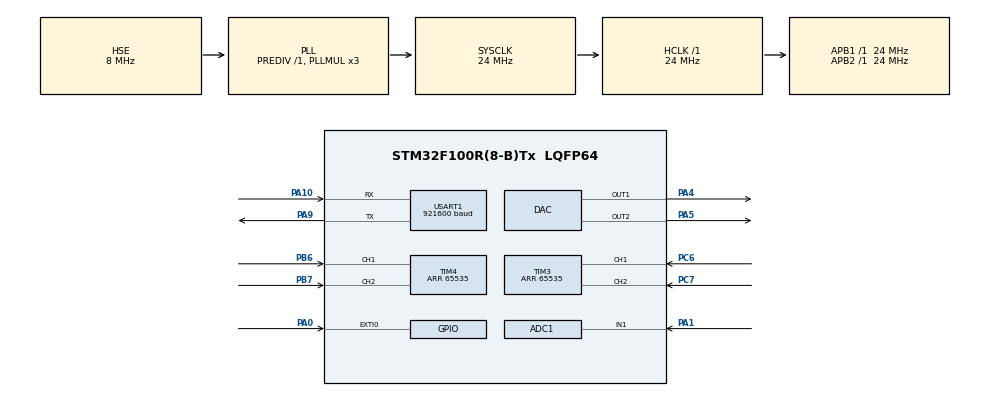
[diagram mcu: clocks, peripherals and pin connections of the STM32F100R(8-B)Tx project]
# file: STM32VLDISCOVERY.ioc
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ADC1.Channel-12\#ChannelRegularConversion=ADC_CHANNEL_1
ADC1.ContinuousConvMode=ENABLE
ADC1.DataAlign=ADC_DATAALIGN_RIGHT
ADC1.DiscontinuousConvMode=DISABLE
ADC1.EnableAnalogWatchDog=false
ADC1.EnableRegularConversion=ENABLE
ADC1.ExternalTrigConv=ADC_SOFTWARE_START
ADC1.InjNumberOfConversion=0
ADC1.NbrOfConversion=1
ADC1.NbrOfConversionFlag=1
ADC1.Rank-12\#ChannelRegularConversion=1
ADC1.SamplingTime-12\#ChannelRegularConversion=ADC_SAMPLETIME_239CYCLES_5
ADC1.ScanConvMode=ADC_SCAN_DISABLE
ADC1.master=1
Dma.ADC1.0.Direction=DMA_PERIPH_TO_MEMORY
Dma.ADC1.0.Instance=DMA1_Channel1
Dma.ADC1.0.MemDataAlignment=DMA_MDATAALIGN_HALFWORD
Dma.ADC1.0.MemInc=DMA_MINC_ENABLE
Dma.ADC1.0.Mode=DMA_CIRCULAR
Dma.ADC1.0.PeriphDataAlignment=DMA_PDATAALIGN_HALFWORD
Dma.ADC1.0.PeriphInc=DMA_PINC_DISABLE
Dma.ADC1.0.Priority=DMA_PRIORITY_LOW
Dma.Request0=ADC1
Mcu.Family=STM32F1
Mcu.Name=STM32F100R(8-B)Tx
Mcu.Package=LQFP64
NVIC.DMA1_Channel1_IRQn=true\:0\:0\:false\:false\:true\:false
NVIC.EXTI0_IRQn=true\:1\:0\:true\:false\:true\:true
NVIC.PriorityGroup=NVIC_PRIORITYGROUP_4
NVIC.TIM2_IRQn=true\:0\:0\:false\:false\:true\:true
NVIC.TIM6_DAC_IRQn=true\:0\:0\:false\:false\:true\:true
PA0-WKUP.Signal=GPXTI0
PA1.Signal=ADCx_IN1
PA10.Mode=Asynchronous
PA10.Signal=USART1_RX
PA13.Mode=Serial_Wire
PA13.Signal=SYS_JTMS-SWDIO
PA14.Mode=Serial_Wire
PA14.Signal=SYS_JTCK-SWCLK
PA4.Signal=COMP_DAC1_group
PA5.Signal=COMP_DAC2_group
PA9.Mode=Asynchronous
PA9.Signal=USART1_TX
PB6.Signal=S_TIM4_CH1
PB7.Signal=S_TIM4_CH2
PC14-OSC32_IN.Mode=LSE-External-Oscillator
PC14-OSC32_IN.Signal=RCC_OSC32_IN
PC15-OSC32_OUT.Mode=LSE-External-Oscillator
PC15-OSC32_OUT.Signal=RCC_OSC32_OUT
PC6.Signal=S_TIM3_CH1
PC7.Signal=S_TIM3_CH2
PD0-OSC_IN.Mode=HSE-External-Oscillator
PD0-OSC_IN.Signal=RCC_OSC_IN
PD1-OSC_OUT.Mode=HSE-External-Oscillator
PD1-OSC_OUT.Signal=RCC_OSC_OUT
ProjectManager.HeapSize=0x200
ProjectManager.StackSize=0x400
ProjectManager.TargetToolchain=SW4STM32
RCC.AHBFreq_Value=24000000
RCC.APB1Freq_Value=24000000
RCC.APB1TimFreq_Value=24000000
RCC.APB2Freq_Value=24000000
RCC.APB2TimFreq_Value=24000000
RCC.HCLKFreq_Value=24000000
RCC.PLLMUL=RCC_PLL_MUL3
RCC.PLLSource=RCC_PLLSOURCE_HSE
RCC.SYSCLKFreq_VALUE=24000000
RCC.SYSCLKSource=RCC_SYSCLKSOURCE_PLLCLK
SH.ADCx_IN1.0=ADC1_IN1,IN1
SH.COMP_DAC1_group.0=DAC_OUT1,DAC_OUT1
SH.COMP_DAC2_group.0=DAC_OUT2,DAC_OUT2
SH.S_TIM3_CH1.0=TIM3_CH1,Encoder_Interface
SH.S_TIM3_CH2.0=TIM3_CH2,Encoder_Interface
SH.S_TIM4_CH1.0=TIM4_CH1,Encoder_Interface
SH.S_TIM4_CH2.0=TIM4_CH2,Encoder_Interface
TIM2.Period=4999
TIM2.Prescaler=23
TIM3.EncoderMode=TIM_ENCODERMODE_TI12
TIM3.IC1Filter=15
TIM3.IC2Filter=15
TIM3.Period=65535
TIM4.EncoderMode=TIM_ENCODERMODE_TI12
TIM4.IC1Filter=12
TIM4.IC2Filter=12
TIM4.Period=65535
TIM6.Period=1999
TIM6.Prescaler=23
USART1.BaudRate=921600
USART1.VirtualMode=VM_ASYNC
VP_TIM2_VS_ClockSourceINT.Mode=Internal
VP_TIM6_VS_ClockSourceINT.Mode=Enable_Timer
board=STM32VLDISCOVERY

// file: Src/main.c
/**
  ******************************************************************************
  * @file           : main.c
  * @brief          : Main program body
  ******************************************************************************
  ** This notice applies to any and all portions of this file
  * that are not between comment pairs USER CODE BEGIN and
  * USER CODE END. Other portions of this file, whether
  * inserted by the user or by software development tools
  * are owned by their respective copyright owners.
  *
  * COPYRIGHT(c) 2018 STMicroelectronics
  *
  * Redistribution and use in source and binary forms, with or without modification,
  * are permitted provided that the following conditions are met:
  *   1. Redistributions of source code must retain the above copyright notice,
  *      this list of conditions and the following disclaimer.
  *   2. Redistributions in binary form must reproduce the above copyright notice,
  *      this list of conditions and the following disclaimer in the documentation
  *      and/or other materials provided with the distribution.
  *   3. Neither the name of STMicroelectronics nor the names of its contributors
  *      may be used to endorse or promote products derived from this software
  *      without specific prior written permission.
  *
  * THIS SOFTWARE IS PROVIDED BY THE COPYRIGHT HOLDERS AND CONTRIBUTORS "AS IS"
  * AND ANY EXPRESS OR IMPLIED WARRANTIES, INCLUDING, BUT NOT LIMITED TO, THE
  * IMPLIED WARRANTIES OF MERCHANTABILITY AND FITNESS FOR A PARTICULAR PURPOSE ARE
  * DISCLAIMED. IN NO EVENT SHALL THE COPYRIGHT HOLDER OR CONTRIBUTORS BE LIABLE
  * FOR ANY DIRECT, INDIRECT, INCIDENTAL, SPECIAL, EXEMPLARY, OR CONSEQUENTIAL
  * DAMAGES (INCLUDING, BUT NOT LIMITED TO, PROCUREMENT OF SUBSTITUTE GOODS OR
  * SERVICES; LOSS OF USE, DATA, OR PROFITS; OR BUSINESS INTERRUPTION) HOWEVER
  * CAUSED AND ON ANY THEORY OF LIABILITY, WHETHER IN CONTRACT, STRICT LIABILITY,
  * OR TORT (INCLUDING NEGLIGENCE OR OTHERWISE) ARISING IN ANY WAY OUT OF THE USE
  * OF THIS SOFTWARE, EVEN IF ADVISED OF THE POSSIBILITY OF SUCH DAMAGE.
  *
  ******************************************************************************
  */
#include "main.h"
#include "stm32f1xx_hal.h"

/* USER CODE BEGIN Includes */

#include <stdlib.h>
#include <string.h>
#include <math.h>
#include "dwt_stm32_delay.h"

/* USER CODE END Includes */

ADC_HandleTypeDef hadc1;
DMA_HandleTypeDef hdma_adc1;

DAC_HandleTypeDef hdac;

TIM_HandleTypeDef htim2;
TIM_HandleTypeDef htim3;
TIM_HandleTypeDef htim4;
TIM_HandleTypeDef htim6;

UART_HandleTypeDef huart1;

/* USER CODE BEGIN PV */
/* Private variables ---------------------------------------------------------*/

volatile uint8_t system_task=0;

volatile int32_t capture4=0, capture4_prev=0, encoder4=0;
volatile int32_t capture3=0, capture3_prev=0, encoder3=0;
volatile uint32_t cnt_micros=0, cnt_micros_prev=0, cnt_overflow=0;

#define ADC_BUF_SIZE 256
volatile uint16_t ADCReadings[ADC_BUF_SIZE];
volatile int32_t adc_zero_amps = 2048;
volatile int32_t adc_accum = 0;

volatile uint32_t useconds=0, useconds_prev=0, time_of_start=0;
volatile int32_t cart_position=0, cart_position_prev=0;
volatile float targetX=0, dtargetX=0.0004;

const uint32_t MHz = 24L;
const uint32_t overflow_micros = 178956970L;

// UNCOMMENT ONE OF THESE:
// parameter-based estimation
#define PEBO
// simplified GESO for PLvCC
//#define KKL

#if defined PEBO
volatile float hatX=0, hatQ=0, hatLPX=0, hatLPQ=0;
#elif defined KKL
const float gainX = -7.;
const float gainQ = -2.;
volatile float ZX=0, ZQ=0;
#endif

/* USER CODE END PV */

void SystemClock_Config(void);
static void MX_GPIO_Init(void);
static void MX_DMA_Init(void);
static void MX_TIM4_Init(void);
static void MX_TIM3_Init(void);
static void MX_USART1_UART_Init(void);
static void MX_DAC_Init(void);
static void MX_ADC1_Init(void);
static void MX_TIM2_Init(void);
static void MX_TIM6_Init(void);

/* USER CODE BEGIN PFP */
/* Private function prototypes -----------------------------------------------*/

/* USER CODE END PFP */

/* USER CODE BEGIN 0 */

uint32_t dwt_micros() {
  cnt_micros_prev = cnt_micros;
  cnt_micros = DWT->CYCCNT / MHz;
  if (cnt_micros_prev > cnt_micros)
    cnt_overflow++;
  return cnt_overflow * overflow_micros + cnt_micros;
}

int32_t get_cart_position() {
  // handle eventual overflows in the encoder reading
  capture4 = TIM4->CNT;
  encoder4 += capture4 - capture4_prev;
  if (labs(capture4 - capture4_prev) > 32767) {
    encoder4 += (capture4 < capture4_prev ? 65535 : -65535);
  }
  capture4_prev = capture4;
  return encoder4 * 18L; // microns, #ticks*(36 teeth * 0.002m pitch)/(1000 ticks/rev * 4x) gives meters, multiplying it by 10^6 we get microns
}

int32_t get_pendulum_angle() {
  // handle eventual overflows in the encoder reading
  capture3 = TIM3->CNT;
  encoder3 += capture3 - capture3_prev;
  if (labs(capture3 - capture3_prev) > 32767) {
    encoder3 += (capture3 < capture3_prev ? 65535 : -65535);
  }
  capture3_prev = capture3;
  return (encoder3 - 4000) * 45L; // millidegrees, #ticks * 360 / (2000 ticks/rev * 4x) gives degrees
}

void HAL_TIM_PeriodElapsedCallback(TIM_HandleTypeDef *htim) {
  if (htim->Instance == TIM6) {
    adc_accum = 0;
    for (uint16_t i = 0; i < ADC_BUF_SIZE; i++) {
      adc_accum += ADCReadings[i];
    }
    adc_accum /= ADC_BUF_SIZE;

    if (0 == system_task) {
      adc_zero_amps = adc_accum;
    }
  }
}

void set_current(float current_ref) {
  int32_t current = current_ref * 4095 / 3.;
  if (current > 0) {
    HAL_DAC_SetValue(&hdac, DAC_CHANNEL_1, DAC_ALIGN_12B_R, current);
    HAL_DAC_SetValue(&hdac, DAC_CHANNEL_2, DAC_ALIGN_12B_R, 0);
  } else {
    HAL_DAC_SetValue(&hdac, DAC_CHANNEL_1, DAC_ALIGN_12B_R, 0);
    HAL_DAC_SetValue(&hdac, DAC_CHANNEL_2, DAC_ALIGN_12B_R, -current);
  }
}

float get_current() {
  return (adc_accum - adc_zero_amps) / 4095.0 * 20.0;
}

// frequencies are given in mHz
void chirp_current_open_loop(float amplitude, float start_freq, float end_freq, uint32_t duration_ms) {
  char buff[1024] = "time(s),reference current(A),current(A),cart position(m),pendulum angle(rad)\r\n";
  HAL_UART_Transmit(&huart1, (uint8_t *) buff, strlen(buff), 3);
  uint32_t time_of_start, useconds;
  useconds = time_of_start = dwt_micros();

  while (useconds < time_of_start + duration_ms * 1000L) {
    useconds = dwt_micros();
    float t = (useconds - time_of_start) * 0.000001;
    float phi = (start_freq + (end_freq - start_freq) * (t*1000.) / (float) duration_ms) * t;
    float current_ref = sin(2. * M_PI * phi) * amplitude;
    set_current(current_ref);

    float current_measured = get_current();
    float mesQ = get_pendulum_angle() * 3.14159 / 180000.;  // radians
    float mesX = get_cart_position() / 1000000.;          // meters

    sprintf(buff, "%3.5f, %1.3f, %1.3f, %3.4f, %3.4f\r\n", (useconds - time_of_start) * 1e-6, current_ref, current_measured, mesX, mesQ);
    HAL_UART_Transmit(&huart1, (uint8_t *) buff, strlen(buff), 3);
  }
  set_current(0);
}

void stabilize(uint32_t duration_ms) {
}

/* USER CODE END 0 */

int main(void)
{

  /* MCU Configuration----------------------------------------------------------*/

  /* Reset of all peripherals, Initializes the Flash interface and the Systick. */
  HAL_Init();

  /* USER CODE BEGIN Init */
  if (DWT_Delay_Init())
    while (1) {
      __ASM volatile ("NOP");
    }

  /* USER CODE END Init */

  /* Configure the system clock */
  SystemClock_Config();

  /* Initialize all configured peripherals */
  MX_GPIO_Init();
  MX_DMA_Init();
  MX_TIM4_Init();
  MX_TIM3_Init();
  MX_USART1_UART_Init();
  MX_DAC_Init();
  MX_ADC1_Init();
  MX_TIM2_Init();
  MX_TIM6_Init();
  /* USER CODE BEGIN 2 */

  HAL_TIM_Base_Start_IT(&htim6);
  HAL_TIM_Encoder_Start(&htim3, TIM_CHANNEL_ALL);
  HAL_TIM_Encoder_Start(&htim4, TIM_CHANNEL_ALL);

  __HAL_DAC_ENABLE(&hdac, DAC_CHANNEL_1);
  __HAL_DAC_ENABLE(&hdac, DAC_CHANNEL_2);
  HAL_DAC_SetValue(&hdac, DAC_CHANNEL_1, DAC_ALIGN_12B_R, 0);
  HAL_DAC_SetValue(&hdac, DAC_CHANNEL_2, DAC_ALIGN_12B_R, 0);

  HAL_ADCEx_Calibration_Start(&hadc1);
  HAL_ADC_Start_DMA(&hadc1, (uint32_t*) ADCReadings, ADC_BUF_SIZE);

  /* USER CODE END 2 */

  /* Infinite loop */
  /* USER CODE BEGIN WHILE */

  while (0) {
      char buff2[255] = "NOP\r\n";
      HAL_UART_Transmit(&huart1, (uint8_t *) buff2, strlen(buff2), 3);
    __ASM volatile ("NOP");
  }
  while (1) {
    if (system_task != 2) {
      char buff2[255];
      sprintf(buff2, "working ok, timestamp: %lu\r\n", dwt_micros());
      HAL_UART_Transmit(&huart1, (uint8_t *) buff2, strlen(buff2), 3);
    }
    /*
    if (system_task==1) {
      HAL_Delay(2000);
//      chirp_current_open_loop(2.5, 2., 9., 5000);
      chirp_current_open_loop(1.5, 1., 5., 5000);
      break;
      system_task = 0;
    }
    continue;
    */

    cart_position_prev = cart_position;
    cart_position = get_cart_position();
    int32_t pendulum_angle = get_pendulum_angle();
    float current_measured = get_current();

    while (pendulum_angle > 180000)  pendulum_angle -= 360000; // mod 2pi
    while (pendulum_angle < -180000) pendulum_angle += 360000;

    useconds_prev = useconds;
    useconds = dwt_micros();

    float mesQ = pendulum_angle * 3.14159 / 180000.;  // radians
    float mesX = cart_position / 1000000.;          // meters

  /* USER CODE END WHILE */

  /* USER CODE BEGIN 3 */
    if (1 == system_task) {
#if defined PEBO
      hatQ = mesQ;
      hatX = mesX;
#elif defined KKL
      ZQ = mesQ * gainQ;
      ZX = mesX * gainX;
#endif
      if (labs(pendulum_angle) < 5000L) {
        system_task = 2;
        time_of_start = useconds;
        char buff2[255] = "#time, current, target_x, x, q\r\n";
        HAL_UART_Transmit(&huart1, (uint8_t *) buff2, strlen(buff2), 3);
      }
    }

    if (2 == system_task) {
      const float Ki = 9.268;
      const float fricpos = 3.986 * .8;
      const float fricneg = -2.875 * .8;

      float u = current_measured * Ki;
      if (cart_position != cart_position_prev) {
        if (cart_position > cart_position_prev)
          u -= fricpos;
        else
          u -= fricneg;
      } else {
        if (u > 0) {
          if (u > fricpos)
            u -= fricpos;
          else
            u = 0;
        } else {
          if (u < fricneg)
            u -= fricneg;
          else
            u = 0;
        }
      }

      float dt = (useconds - useconds_prev) / 1000000.; // seconds

      float cosQ = cos(mesQ);
      float sinQ = sin(mesQ);

#if defined PEBO
      float A = 1./sqrtf(731.775 - 152.361*cosQ*cosQ);
      float hatDQ = (123.018*hatLPQ) * A;
      float hatDX = 0.933*hatLPX - (11.512*hatLPQ*cosQ) * A;
      float diffX = hatDX + 50*(mesX - hatX);
      float diffQ = 80*(mesQ - hatQ) + hatDQ;
      float diffLPX = 373.066*mesX - 373.066*hatX + .933*u + (4604.916*cosQ*(hatQ - mesQ)) * A;
      float diffLPQ = (18452.7315*(mesQ - hatQ) + 129.832*sinQ - 11.512*u*cosQ) * A;

      hatX += dt*diffX;
      hatQ += dt*diffQ;
      hatLPX += dt*diffLPX;
      hatLPQ += dt*diffLPQ;
#elif defined KKL
      float A = 1. / sqrtf(7.3178 - 1.5236 * cosQ * cosQ);
      float eX = ZX - gainX * mesX;
      float eQ = ZQ - gainQ * mesQ;

      float hatDQ = 12.3018 * eQ * A;
      float hatDX = 0.9327 * eX - 1.1512 * eQ * cosQ * A;

      float diffZQ = (12.9832 * sinQ - 1.1512 * u * cosQ) * A + gainQ * hatDQ;
      float diffZX = 0.9327 * u + gainX * hatDX;

      ZX += dt * diffZX;
      ZQ += dt * diffZQ;
#endif

      const float K[] = { 21.813858, 23.789165, 106.449942, 20.776078 };
      if (targetX > .2 || targetX < -.2)
        dtargetX = -dtargetX;
      targetX += dtargetX;

      int32_t f = K[0] * (mesX - targetX) + K[1] * (hatDX - dtargetX / 0.005) + K[2] * mesQ + K[3] * hatDQ; // Newtons

      float antifriction = 0;
      if (cart_position != cart_position_prev) {
        if (cart_position > cart_position_prev)
          antifriction = fricpos;
        else
          antifriction = fricneg;
      } else {
        if (fabs(f) > 0.01) {
          if (f > 0)
            antifriction = fricpos;
          else
            antifriction = fricneg;
        } else
          f = 0;
      }
      float current_ref = (f + antifriction) / Ki;
      if (current_ref >  3.) current_ref = 3.;
      if (current_ref < -3.) current_ref = -3.;

      set_current(current_ref);

      if (labs(cart_position) > 350000L || labs(pendulum_angle) > 30000L) {
        system_task = 9;
        set_current(0);
      }

      char buff[255] = { 0 };
      sprintf(buff, "%3.5f, %1.3f, %3.4f, %3.4f, %3.4f\r\n", (useconds - time_of_start) * 1e-6, current_ref, targetX, mesX, mesQ);
      HAL_UART_Transmit(&huart1, (uint8_t *) buff, strlen(buff), 3);
    }
    while (dwt_micros() - useconds < 4900);
  }
  /* USER CODE END 3 */

}

void SystemClock_Config(void)
{

  RCC_OscInitTypeDef RCC_OscInitStruct;
  RCC_ClkInitTypeDef RCC_ClkInitStruct;
  RCC_PeriphCLKInitTypeDef PeriphClkInit;

    /**Initializes the CPU, AHB and APB busses clocks
    */
  RCC_OscInitStruct.OscillatorType = RCC_OSCILLATORTYPE_HSE;
  RCC_OscInitStruct.HSEState = RCC_HSE_ON;
  RCC_OscInitStruct.HSEPredivValue = RCC_HSE_PREDIV_DIV1;
  RCC_OscInitStruct.PLL.PLLState = RCC_PLL_ON;
  RCC_OscInitStruct.PLL.PLLSource = RCC_PLLSOURCE_HSE;
  RCC_OscInitStruct.PLL.PLLMUL = RCC_PLL_MUL3;
  if (HAL_RCC_OscConfig(&RCC_OscInitStruct) != HAL_OK)
  {
    _Error_Handler(__FILE__, __LINE__);
  }

    /**Initializes the CPU, AHB and APB busses clocks
    */
  RCC_ClkInitStruct.ClockType = RCC_CLOCKTYPE_HCLK|RCC_CLOCKTYPE_SYSCLK
                              |RCC_CLOCKTYPE_PCLK1|RCC_CLOCKTYPE_PCLK2;
  RCC_ClkInitStruct.SYSCLKSource = RCC_SYSCLKSOURCE_PLLCLK;
  RCC_ClkInitStruct.AHBCLKDivider = RCC_SYSCLK_DIV1;
  RCC_ClkInitStruct.APB1CLKDivider = RCC_HCLK_DIV1;
  RCC_ClkInitStruct.APB2CLKDivider = RCC_HCLK_DIV1;

  if (HAL_RCC_ClockConfig(&RCC_ClkInitStruct, FLASH_LATENCY_0) != HAL_OK)
  {
    _Error_Handler(__FILE__, __LINE__);
  }

  PeriphClkInit.PeriphClockSelection = RCC_PERIPHCLK_ADC;
  PeriphClkInit.AdcClockSelection = RCC_ADCPCLK2_DIV2;
  if (HAL_RCCEx_PeriphCLKConfig(&PeriphClkInit) != HAL_OK)
  {
    _Error_Handler(__FILE__, __LINE__);
  }

    /**Configure the Systick interrupt time
    */
  HAL_SYSTICK_Config(HAL_RCC_GetHCLKFreq()/1000);

    /**Configure the Systick
    */
  HAL_SYSTICK_CLKSourceConfig(SYSTICK_CLKSOURCE_HCLK);

  /* SysTick_IRQn interrupt configuration */
  HAL_NVIC_SetPriority(SysTick_IRQn, 0, 0);
}

/* ADC1 init function */
static void MX_ADC1_Init(void)
{

  ADC_ChannelConfTypeDef sConfig;

    /**Common config
    */
  hadc1.Instance = ADC1;
  hadc1.Init.ScanConvMode = ADC_SCAN_DISABLE;
  hadc1.Init.ContinuousConvMode = ENABLE;
  hadc1.Init.DiscontinuousConvMode = DISABLE;
  hadc1.Init.ExternalTrigConv = ADC_SOFTWARE_START;
  hadc1.Init.DataAlign = ADC_DATAALIGN_RIGHT;
  hadc1.Init.NbrOfConversion = 1;
  if (HAL_ADC_Init(&hadc1) != HAL_OK)
  {
    _Error_Handler(__FILE__, __LINE__);
  }

    /**Configure Regular Channel
    */
  sConfig.Channel = ADC_CHANNEL_1;
  sConfig.Rank = ADC_REGULAR_RANK_1;
  sConfig.SamplingTime = ADC_SAMPLETIME_239CYCLES_5;
  if (HAL_ADC_ConfigChannel(&hadc1, &sConfig) != HAL_OK)
  {
    _Error_Handler(__FILE__, __LINE__);
  }

}

/* DAC init function */
static void MX_DAC_Init(void)
{

  DAC_ChannelConfTypeDef sConfig;

    /**DAC Initialization
    */
  hdac.Instance = DAC;
  if (HAL_DAC_Init(&hdac) != HAL_OK)
  {
    _Error_Handler(__FILE__, __LINE__);
  }

    /**DAC channel OUT1 config
    */
  sConfig.DAC_Trigger = DAC_TRIGGER_NONE;
  sConfig.DAC_OutputBuffer = DAC_OUTPUTBUFFER_ENABLE;
  if (HAL_DAC_ConfigChannel(&hdac, &sConfig, DAC_CHANNEL_1) != HAL_OK)
  {
    _Error_Handler(__FILE__, __LINE__);
  }

    /**DAC channel OUT2 config
    */
  if (HAL_DAC_ConfigChannel(&hdac, &sConfig, DAC_CHANNEL_2) != HAL_OK)
  {
    _Error_Handler(__FILE__, __LINE__);
  }

}

/* TIM2 init function */
static void MX_TIM2_Init(void)
{

  TIM_ClockConfigTypeDef sClockSourceConfig;
  TIM_MasterConfigTypeDef sMasterConfig;

  htim2.Instance = TIM2;
  htim2.Init.Prescaler = 23;
  htim2.Init.CounterMode = TIM_COUNTERMODE_UP;
  htim2.Init.Period = 4999;
  htim2.Init.ClockDivision = TIM_CLOCKDIVISION_DIV1;
  htim2.Init.AutoReloadPreload = TIM_AUTORELOAD_PRELOAD_DISABLE;
  if (HAL_TIM_Base_Init(&htim2) != HAL_OK)
  {
    _Error_Handler(__FILE__, __LINE__);
  }

  sClockSourceConfig.ClockSource = TIM_CLOCKSOURCE_INTERNAL;
  if (HAL_TIM_ConfigClockSource(&htim2, &sClockSourceConfig) != HAL_OK)
  {
    _Error_Handler(__FILE__, __LINE__);
  }

  sMasterConfig.MasterOutputTrigger = TIM_TRGO_RESET;
  sMasterConfig.MasterSlaveMode = TIM_MASTERSLAVEMODE_DISABLE;
  if (HAL_TIMEx_MasterConfigSynchronization(&htim2, &sMasterConfig) != HAL_OK)
  {
    _Error_Handler(__FILE__, __LINE__);
  }

}

/* TIM3 init function */
static void MX_TIM3_Init(void)
{

  TIM_Encoder_InitTypeDef sConfig;
  TIM_MasterConfigTypeDef sMasterConfig;

  htim3.Instance = TIM3;
  htim3.Init.Prescaler = 0;
  htim3.Init.CounterMode = TIM_COUNTERMODE_UP;
  htim3.Init.Period = 65535;
  htim3.Init.ClockDivision = TIM_CLOCKDIVISION_DIV1;
  htim3.Init.AutoReloadPreload = TIM_AUTORELOAD_PRELOAD_DISABLE;
  sConfig.EncoderMode = TIM_ENCODERMODE_TI12;
  sConfig.IC1Polarity = TIM_ICPOLARITY_RISING;
  sConfig.IC1Selection = TIM_ICSELECTION_DIRECTTI;
  sConfig.IC1Prescaler = TIM_ICPSC_DIV1;
  sConfig.IC1Filter = 15;
  sConfig.IC2Polarity = TIM_ICPOLARITY_RISING;
  sConfig.IC2Selection = TIM_ICSELECTION_DIRECTTI;
  sConfig.IC2Prescaler = TIM_ICPSC_DIV1;
  sConfig.IC2Filter = 15;
  if (HAL_TIM_Encoder_Init(&htim3, &sConfig) != HAL_OK)
  {
    _Error_Handler(__FILE__, __LINE__);
  }

  sMasterConfig.MasterOutputTrigger = TIM_TRGO_RESET;
  sMasterConfig.MasterSlaveMode = TIM_MASTERSLAVEMODE_DISABLE;
  if (HAL_TIMEx_MasterConfigSynchronization(&htim3, &sMasterConfig) != HAL_OK)
  {
    _Error_Handler(__FILE__, __LINE__);
  }

}

/* TIM4 init function */
static void MX_TIM4_Init(void)
{

  TIM_Encoder_InitTypeDef sConfig;
  TIM_MasterConfigTypeDef sMasterConfig;

  htim4.Instance = TIM4;
  htim4.Init.Prescaler = 0;
  htim4.Init.CounterMode = TIM_COUNTERMODE_UP;
  htim4.Init.Period = 65535;
  htim4.Init.ClockDivision = TIM_CLOCKDIVISION_DIV1;
  htim4.Init.AutoReloadPreload = TIM_AUTORELOAD_PRELOAD_DISABLE;
  sConfig.EncoderMode = TIM_ENCODERMODE_TI12;
  sConfig.IC1Polarity = TIM_ICPOLARITY_RISING;
  sConfig.IC1Selection = TIM_ICSELECTION_DIRECTTI;
  sConfig.IC1Prescaler = TIM_ICPSC_DIV1;
  sConfig.IC1Filter = 12;
  sConfig.IC2Polarity = TIM_ICPOLARITY_RISING;
  sConfig.IC2Selection = TIM_ICSELECTION_DIRECTTI;
  sConfig.IC2Prescaler = TIM_ICPSC_DIV1;
  sConfig.IC2Filter = 12;
  if (HAL_TIM_Encoder_Init(&htim4, &sConfig) != HAL_OK)
  {
    _Error_Handler(__FILE__, __LINE__);
  }

  sMasterConfig.MasterOutputTrigger = TIM_TRGO_RESET;
  sMasterConfig.MasterSlaveMode = TIM_MASTERSLAVEMODE_DISABLE;
  if (HAL_TIMEx_MasterConfigSynchronization(&htim4, &sMasterConfig) != HAL_OK)
  {
    _Error_Handler(__FILE__, __LINE__);
  }

}

/* TIM6 init function */
static void MX_TIM6_Init(void)
{

  TIM_MasterConfigTypeDef sMasterConfig;

  htim6.Instance = TIM6;
  htim6.Init.Prescaler = 23;
  htim6.Init.CounterMode = TIM_COUNTERMODE_UP;
  htim6.Init.Period = 1999;
  htim6.Init.AutoReloadPreload = TIM_AUTORELOAD_PRELOAD_DISABLE;
  if (HAL_TIM_Base_Init(&htim6) != HAL_OK)
  {
    _Error_Handler(__FILE__, __LINE__);
  }

  sMasterConfig.MasterOutputTrigger = TIM_TRGO_RESET;
  sMasterConfig.MasterSlaveMode = TIM_MASTERSLAVEMODE_DISABLE;
  if (HAL_TIMEx_MasterConfigSynchronization(&htim6, &sMasterConfig) != HAL_OK)
  {
    _Error_Handler(__FILE__, __LINE__);
  }

}

/* USART1 init function */
static void MX_USART1_UART_Init(void)
{

  huart1.Instance = USART1;
  huart1.Init.BaudRate = 921600;
  huart1.Init.WordLength = UART_WORDLENGTH_8B;
  huart1.Init.StopBits = UART_STOPBITS_1;
  huart1.Init.Parity = UART_PARITY_NONE;
  huart1.Init.Mode = UART_MODE_TX_RX;
  huart1.Init.HwFlowCtl = UART_HWCONTROL_NONE;
  huart1.Init.OverSampling = UART_OVERSAMPLING_16;
  if (HAL_UART_Init(&huart1) != HAL_OK)
  {
    _Error_Handler(__FILE__, __LINE__);
  }

}

static void MX_DMA_Init(void)
{
  /* DMA controller clock enable */
  __HAL_RCC_DMA1_CLK_ENABLE();

  /* DMA interrupt init */
  /* DMA1_Channel1_IRQn interrupt configuration */
  HAL_NVIC_SetPriority(DMA1_Channel1_IRQn, 0, 0);
  HAL_NVIC_EnableIRQ(DMA1_Channel1_IRQn);

}

/** Configure pins as
        * Analog
        * Input
        * Output
        * EVENT_OUT
        * EXTI
*/
static void MX_GPIO_Init(void)
{

  GPIO_InitTypeDef GPIO_InitStruct;

  /* GPIO Ports Clock Enable */
  __HAL_RCC_GPIOC_CLK_ENABLE();
  __HAL_RCC_GPIOD_CLK_ENABLE();
  __HAL_RCC_GPIOA_CLK_ENABLE();
  __HAL_RCC_GPIOB_CLK_ENABLE();

  /*Configure GPIO pin : PA0 */
  GPIO_InitStruct.Pin = GPIO_PIN_0;
  GPIO_InitStruct.Mode = GPIO_MODE_IT_RISING;
  GPIO_InitStruct.Pull = GPIO_NOPULL;
  HAL_GPIO_Init(GPIOA, &GPIO_InitStruct);

  /* EXTI interrupt init*/
  HAL_NVIC_SetPriority(EXTI0_IRQn, 1, 0);
  HAL_NVIC_EnableIRQ(EXTI0_IRQn);

}

void _Error_Handler(char *file, int line)
{
  while(1)
  {
  }
}

/************************ (C) COPYRIGHT STMicroelectronics *****END OF FILE****/
